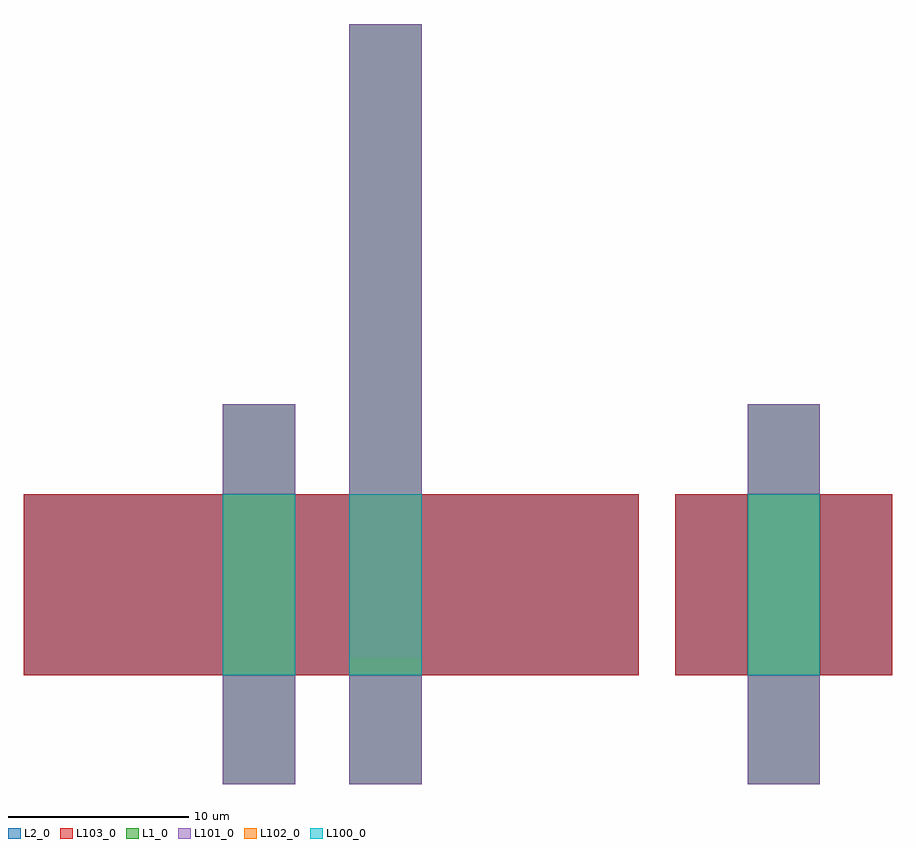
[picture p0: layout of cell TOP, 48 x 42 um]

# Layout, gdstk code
import gdstk
lib = gdstk.Library(unit=1e-6, precision=1e-09)
def R(c, l, rs):  # rectangles x0, y0, x1, y1
    for r in rs: c.add(gdstk.rectangle(r[:2], r[2:], *l))
L1_0 = (1, 0)
L2_0 = (2, 0)
L100_0 = (100, 0)
L101_0 = (101, 0)
L102_0 = (102, 0)
L103_0 = (103, 0)

sub = lib.new_cell('SUB')
R(sub, L1_0, [(0,-6,4,15)])
R(sub, L100_0, [(0,0,4,10)])
R(sub, L101_0, [(0,-6,4,0), (0,10,4,15)])

child = lib.new_cell('CHILD')
R(child, L2_0, [(-11,0,16,10)])
R(child, L102_0, [(0,0,4,10)])
R(child, L103_0, [(-11,0,0,10), (4,0,16,10)])
child.add(gdstk.Reference(sub, (0,0)))

top = lib.new_cell('TOP')
R(top, L1_0, [(7,1,11,36)])
R(top, L2_0, [(25,0,37,10)])
R(top, L101_0, [(7,1,11,36)])
R(top, L102_0, [(29,0,33,10)])
R(top, L103_0, [(25,0,29,10), (33,0,37,10)])
top.add(gdstk.Reference(child, (0,0)))
top.add(gdstk.Reference(child, (7,0)))
top.add(gdstk.Reference(sub, (29,0)))

lib.write_gds('TOP.gds')
